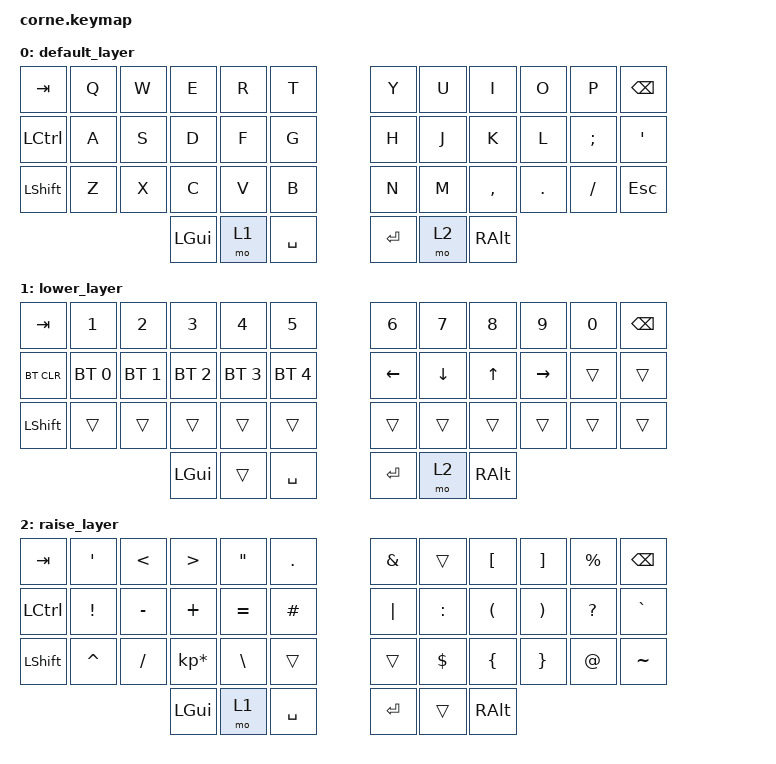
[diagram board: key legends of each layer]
/*
 * Copyright (c) 2020 The ZMK Contributors
 *
 * SPDX-License-Identifier: MIT
 */

#define HOST_OS 2
#include "zmk-helpers/helper.h"
#include "zmk-helpers/unicode-chars/german.dtsi"

#include <behaviors.dtsi>
#include <dt-bindings/zmk/keys.h>
#include <dt-bindings/zmk/bt.h>

/ {
        keymap {
                compatible = "zmk,keymap";

                default_layer {
// -----------------------------------------------------------------------------------------
// |  TAB |  Q  |  W  |  E  |  R  |  T  |   |  Y  |  U   |  I  |  O  |  P  | BKSP |
// | CTRL |  A  |  S  |  D  |  F  |  G  |   |  H  |  J   |  K  |  L  |  ;  |  '   |
// | SHFT |  Z  |  X  |  C  |  V  |  B  |   |  N  |  M   |  ,  |  .  |  /  | ESC  |
//                    | GUI | LWR | SPC |   | ENT | RSE  | ALT |
                        bindings = <
   &kp TAB   &kp Q &kp W &kp E &kp R &kp T   &kp Y &kp U  &kp I     &kp O   &kp P    &kp BSPC
   &kp LCTRL &kp A &kp S &kp D &kp F &kp G   &kp H &kp J  &kp K     &kp L   &kp SEMI &kp SQT
   &kp LSHFT &kp Z &kp X &kp C &kp V &kp B   &kp N &kp M  &kp COMMA &kp DOT &kp FSLH &kp ESC
                  &kp LGUI &mo 1 &kp SPACE   &kp RET &mo 2 &kp RALT
                        >;
                };
                lower_layer {
// -----------------------------------------------------------------------------------------
// |  TAB |  1  |  2  |  3  |  4  |  5  |   |  6  |  7  |  8  |  9  |  0  | BKSP |
// | BTCLR| BT1 | BT2 | BT3 | BT4 | BT5 |   | LFT | DWN |  UP | RGT |     |      |
// | SHFT |     |     |     |     |     |   |     |     |     |     |     |      |
//                    | GUI |     | SPC |   | ENT |     | ALT |
                        bindings = <
   &kp TAB    &kp N1       &kp N2       &kp N3       &kp N4       &kp N5         &kp N6   &kp N7   &kp N8 &kp N9    &kp N0 &kp BSPC
   &bt BT_CLR &bt BT_SEL 0 &bt BT_SEL 1 &bt BT_SEL 2 &bt BT_SEL 3 &bt BT_SEL 4   &kp LEFT &kp DOWN &kp UP &kp RIGHT &trans &trans
   &kp LSHFT  &trans       &trans       &trans       &trans       &trans         &trans   &trans   &trans &trans    &trans &trans
                                    &kp LGUI     &trans       &kp SPACE      &kp RET  &mo 2  &kp RALT
                        >;
                };

                raise_layer {
// -----------------------------------------------------------------------------------------
// |  TAB |  '  |  <  |  >  |  "  |  .  |   |  &  |     |  [  |  ]  |  %  | BKSP |
// | CTRL |  !  |  -  |  +  |  =  |  #  |   | "|" |  :  |  (  |  )  |  ?  |  `   |
// | SHFT |  ^  |  /  |  *  |     |     |   |     |  $  |  {  |  }  |  @  |  ~   |
//                    | GUI |     | SPC |   | ENT |     | ALT |
                        bindings = <
   &kp  TAB  &kp SQT &kp LT &kp GT &kp DQT &kp DOT   &kp AMPS &trans  &kp LBKT &kp RBKT &kp PRCNT &kp BSPC
   &kp LCTRL &kp EXCL   &kp MINUS &kp PLUS   &kp EQUAL   &kp HASH      &kp PIPE &kp COLON &kp LPAR        &kp RPAR &kp QMARK &kp GRAVE
   &kp LSHFT &kp CARET   &kp FSLH &kp KP_MULTIPLY   &kp BSLH   &trans      &trans &kp DLLR  &kp LBRC        &kp RBRC &kp AT &kp TILDE
                             &kp LGUI &mo 1    &kp SPACE   &kp RET   &trans    &kp RALT
                        >;
                };
        };
};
